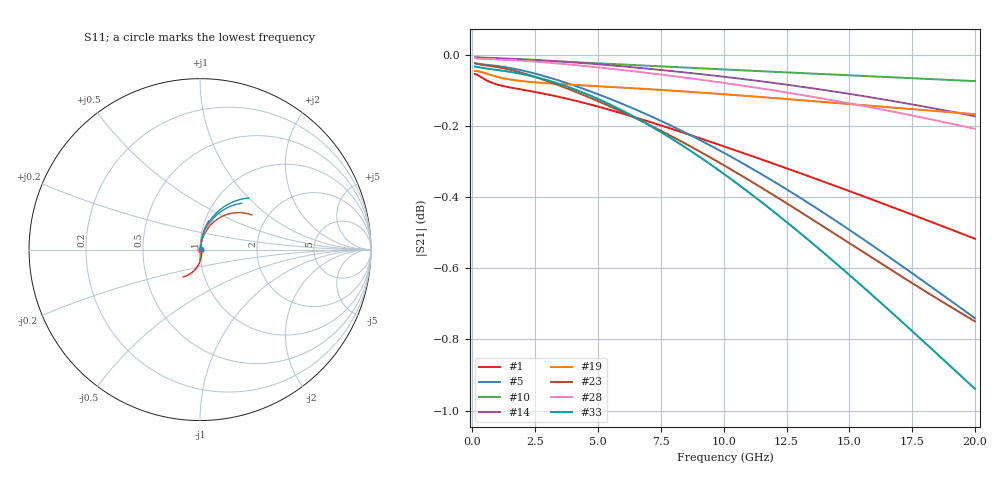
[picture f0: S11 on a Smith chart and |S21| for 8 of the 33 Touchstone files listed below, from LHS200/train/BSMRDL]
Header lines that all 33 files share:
! Touchstone file exported from HFSS 2026.1.0
!  Design:  BSMRDL
! Variables:
! Terminal data exported
# GHz S MA R 50.000000
Fixed: h_ox = 20um, h_rdl = 5um, h_sub = 80um, h_tmrdl = 5um, h_tsv = 80um, h_via = 3um, l_tmrdl = 200um, m_sub = 200um, r_tsv = 6um, s_tmrdl = 10um, w_sub = 500um, w_tmrdl = 12um, x_tsv_center1 = 206um
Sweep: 100 MHz to 20 GHz
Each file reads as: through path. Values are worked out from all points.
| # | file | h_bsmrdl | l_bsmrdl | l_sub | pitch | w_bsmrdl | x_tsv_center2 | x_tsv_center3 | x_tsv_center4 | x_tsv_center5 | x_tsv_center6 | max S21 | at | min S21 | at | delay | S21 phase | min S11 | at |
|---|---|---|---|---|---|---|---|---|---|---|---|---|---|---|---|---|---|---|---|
| 1 | dut140.s2p | 4.17um | 736.79um | 1136.79um | 11.97um | 10.22um | 953.01um | 1165.01um | 1912.02um | 2124.02um | 2871.03um | -0.05 dB | 100 MHz | -0.5 dB | 20 GHz | 5.87 ps | -22 deg at 10.1 GHz | -44.2 dB | 100 MHz |
| 2 | dut141.s2p | 5.45um | 950.01um | 1350.01um | 31.8um | 16.8um | 1172.81um | 1384.81um | 2351.62um | 2563.62um | 3530.43um | -0.03 dB | 100 MHz | -0.7 dB | 20 GHz | 7.74 ps | -29 deg at 10.1 GHz | -46.6 dB | 100 MHz |
| 3 | dut142.s2p | 4.52um | 730.24um | 1130.24um | 57.15um | 24.99um | 961.23um | 1173.23um | 1928.46um | 2140.46um | 2895.69um | -0.02 dB | 100 MHz | -1.0 dB | 20 GHz | 6.82 ps | -26 deg at 10.1 GHz | -48.1 dB | 100 MHz |
| 4 | dut143.s2p | 2.02um | 360.86um | 760.86um | 28.01um | 23.56um | 590.42um | 802.42um | 1186.84um | 1398.84um | 1783.26um | -0.03 dB | 100 MHz | -0.1 dB | 20 GHz | 2.93 ps | -11 deg at 10.1 GHz | -50.0 dB | 100 MHz |
| 5 | dut144.s2p | 5.98um | 608.5um | 1008.5um | 36.13um | 13.4um | 827.9um | 1039.9um | 1661.8um | 1873.8um | 2495.7um | -0.02 dB | 100 MHz | -0.7 dB | 20 GHz | 5.56 ps | -21 deg at 10.1 GHz | -48.7 dB | 100 MHz |
| 6 | dut145.s2p | 5.98um | 296.82um | 696.82um | 44.72um | 29.73um | 532.55um | 744.55um | 1071.1um | 1283.1um | 1609.65um | -0.01 dB | 100 MHz | -0.1 dB | 20 GHz | 2.63 ps | -10 deg at 10.1 GHz | -59.4 dB | 100 MHz |
| 7 | dut147.s2p | 4.25um | 135.94um | 535.94um | 28.64um | 10.15um | 352.09um | 564.09um | 710.18um | 922.18um | 1068.27um | -0.01 dB | 100 MHz | -0.1 dB | 20 GHz | 1.51 ps | -6 deg at 10.1 GHz | -57.1 dB | 100 MHz |
| 8 | dut150.s2p | 4.05um | 394.8um | 794.8um | 59.11um | 29.06um | 629.86um | 841.86um | 1265.72um | 1477.72um | 1901.58um | -0.01 dB | 100 MHz | -0.4 dB | 20 GHz | 4.04 ps | -15 deg at 10.1 GHz | -53.2 dB | 100 MHz |
| 9 | dut151.s2p | 2.02um | 985.95um | 1385.95um | 33.15um | 23.15um | 1215.1um | 1427.1um | 2436.2um | 2648.2um | 3657.3um | -0.07 dB | 100 MHz | -0.6 dB | 20 GHz | 8.07 ps | -30 deg at 10.1 GHz | -41.8 dB | 100 MHz |
| 10 | dut152.s2p | 4.72um | 118.7um | 518.7um | 15.16um | 13.82um | 338.52um | 550.52um | 683.04um | 895.04um | 1027.56um | -0.01 dB | 100 MHz | -0.1 dB | 20 GHz | 1.08 ps | -4 deg at 10.1 GHz | -61.8 dB | 100 MHz |
| 11 | dut153.s2p | 2.64um | 391.87um | 791.87um | 35.8um | 16.19um | 614.06um | 826.06um | 1234.12um | 1446.12um | 1854.18um | -0.03 dB | 100 MHz | -0.4 dB | 20 GHz | 3.92 ps | -15 deg at 10.1 GHz | -48.3 dB | 100 MHz |
| 12 | dut155.s2p | 3.34um | 803.45um | 1203.45um | 18.55um | 16.1um | 1025.55um | 1237.55um | 2057.1um | 2269.1um | 3088.65um | -0.05 dB | 100 MHz | -0.3 dB | 20 GHz | 6.21 ps | -23 deg at 10.1 GHz | -45.2 dB | 100 MHz |
| 13 | dut156.s2p | 4.59um | 282.28um | 682.28um | 59.27um | 20.26um | 508.54um | 720.54um | 1023.08um | 1235.08um | 1537.62um | -0.01 dB | 100 MHz | -0.4 dB | 20 GHz | 3.34 ps | -12 deg at 10.1 GHz | -54.0 dB | 100 MHz |
| 14 | dut157.s2p | 5.79um | 177.09um | 577.09um | 48.35um | 15.4um | 398.49um | 610.49um | 802.98um | 1014.98um | 1207.47um | -0.01 dB | 100 MHz | -0.2 dB | 20 GHz | 2.14 ps | -8 deg at 10.1 GHz | -57.9 dB | 100 MHz |
| 15 | dut158.s2p | 5.88um | 730.63um | 1130.63um | 25.73um | 24.57um | 961.2um | 1173.2um | 1928.4um | 2140.4um | 2895.6um | -0.02 dB | 100 MHz | -1.5 dB | 20 GHz | 7.03 ps | -28 deg at 10.1 GHz | -50.8 dB | 100 MHz |
| 16 | dut159.s2p | 2.94um | 137.31um | 537.31um | 38.71um | 21.73um | 365.04um | 577.04um | 736.08um | 948.08um | 1107.12um | -0.01 dB | 100 MHz | -0.1 dB | 20 GHz | 1.51 ps | -6 deg at 10.1 GHz | -58.5 dB | 100 MHz |
| 17 | dut160.s2p | 4.97um | 124.12um | 524.12um | 32.14um | 15.99um | 346.11um | 558.11um | 698.22um | 910.22um | 1050.33um | -0.01 dB | 100 MHz | -0.1 dB | 20 GHz | 1.29 ps | -5 deg at 10.1 GHz | -61.5 dB | 100 MHz |
| 18 | dut161.s2p | 3.53um | 140.32um | 540.32um | 28.64um | 14.62um | 360.94um | 572.94um | 727.88um | 939.88um | 1094.82um | -0.01 dB | 100 MHz | -0.1 dB | 20 GHz | 1.44 ps | -5 deg at 10.1 GHz | -57.9 dB | 100 MHz |
| 19 | dut162.s2p | 2.26um | 398.16um | 798.16um | 14.79um | 12.48um | 616.64um | 828.64um | 1239.28um | 1451.28um | 1861.92um | -0.05 dB | 100 MHz | -0.2 dB | 20 GHz | 3.08 ps | -11 deg at 10.1 GHz | -45.7 dB | 100 MHz |
| 20 | dut163.s2p | 4.75um | 122.9um | 522.9um | 57.92um | 14.39um | 343.29um | 555.29um | 692.58um | 904.58um | 1041.87um | -0.01 dB | 100 MHz | -0.2 dB | 20 GHz | 1.88 ps | -7 deg at 10.1 GHz | -58.3 dB | 100 MHz |
| 21 | dut164.s2p | 4.71um | 961.6um | 1361.6um | 30.98um | 29.27um | 1196.87um | 1408.87um | 2399.74um | 2611.74um | 3602.61um | -0.03 dB | 100 MHz | -1.1 dB | 20 GHz | 8.02 ps | -31 deg at 10.1 GHz | -50.1 dB | 100 MHz |
| 22 | dut165.s2p | 5.29um | 163.56um | 563.56um | 41.22um | 22.91um | 392.47um | 604.47um | 790.94um | 1002.94um | 1189.41um | -0.01 dB | 100 MHz | -0.1 dB | 20 GHz | 1.66 ps | -6 deg at 10.1 GHz | -61.3 dB | 100 MHz |
| 23 | dut166.s2p | 5.96um | 899.36um | 1299.36um | 41.02um | 21.24um | 1126.6um | 1338.6um | 2259.2um | 2471.2um | 3391.8um | -0.02 dB | 100 MHz | -0.7 dB | 20 GHz | 7.53 ps | -29 deg at 10.1 GHz | -48.3 dB | 100 MHz |
| 24 | dut167.s2p | 3.02um | 634.99um | 1034.99um | 12.98um | 11.26um | 852.25um | 1064.25um | 1710.5um | 1922.5um | 2568.75um | -0.06 dB | 100 MHz | -0.4 dB | 20 GHz | 4.99 ps | -19 deg at 10.1 GHz | -43.5 dB | 100 MHz |
| 25 | dut168.s2p | 5.86um | 504.2um | 904.2um | 22.66um | 19.24um | 729.44um | 941.44um | 1464.88um | 1676.88um | 2200.32um | -0.02 dB | 100 MHz | -0.2 dB | 20 GHz | 3.92 ps | -15 deg at 10.1 GHz | -54.7 dB | 100 MHz |
| 26 | dut169.s2p | 2.24um | 690.67um | 1090.67um | 33.6um | 29.21um | 925.88um | 1137.88um | 1857.76um | 2069.76um | 2789.64um | -0.04 dB | 100 MHz | -0.2 dB | 20 GHz | 5.48 ps | -20 deg at 10.1 GHz | -47.4 dB | 100 MHz |
| 27 | dut171.s2p | 3.95um | 541.33um | 941.33um | 45.51um | 29.3um | 776.63um | 988.63um | 1559.26um | 1771.26um | 2341.89um | -0.02 dB | 100 MHz | -0.3 dB | 20 GHz | 4.75 ps | -18 deg at 10.1 GHz | -52.2 dB | 100 MHz |
| 28 | dut172.s2p | 4.59um | 301.66um | 701.66um | 47.98um | 25.23um | 532.89um | 744.89um | 1071.78um | 1283.78um | 1610.67um | -0.01 dB | 100 MHz | -0.2 dB | 20 GHz | 3 ps | -11 deg at 10.1 GHz | -55.9 dB | 100 MHz |
| 29 | dut174.s2p | 3.61um | 428.13um | 828.13um | 58.98um | 19.13um | 653.26um | 865.26um | 1312.52um | 1524.52um | 1971.78um | -0.02 dB | 100 MHz | -0.8 dB | 20 GHz | 4.81 ps | -18 deg at 10.1 GHz | -49.5 dB | 100 MHz |
| 30 | dut176.s2p | 2.09um | 857.89um | 1257.89um | 35.86um | 16.88um | 1080.77um | 1292.77um | 2167.54um | 2379.54um | 3254.31um | -0.08 dB | 100 MHz | -1.2 dB | 20 GHz | 7.65 ps | -30 deg at 10.1 GHz | -40.6 dB | 100 MHz |
| 31 | dut177.s2p | 4.59um | 682.63um | 1082.63um | 21.83um | 20.3um | 908.93um | 1120.93um | 1823.86um | 2035.86um | 2738.79um | -0.03 dB | 100 MHz | -0.7 dB | 20 GHz | 5.83 ps | -22 deg at 10.1 GHz | -50.5 dB | 100 MHz |
| 32 | dut178.s2p | 3.11um | 407.39um | 807.39um | 20.05um | 15.43um | 628.82um | 840.82um | 1263.64um | 1475.64um | 1898.46um | -0.03 dB | 100 MHz | -0.1 dB | 20 GHz | 3.2 ps | -12 deg at 10.1 GHz | -49.7 dB | 100 MHz |
| 33 | dut179.s2p | 3.4um | 588.83um | 988.83um | 44.05um | 16.69um | 811.52um | 1023.52um | 1629.04um | 1841.04um | 2446.56um | -0.03 dB | 100 MHz | -0.9 dB | 20 GHz | 5.81 ps | -22 deg at 10.1 GHz | -46.6 dB | 100 MHz |
